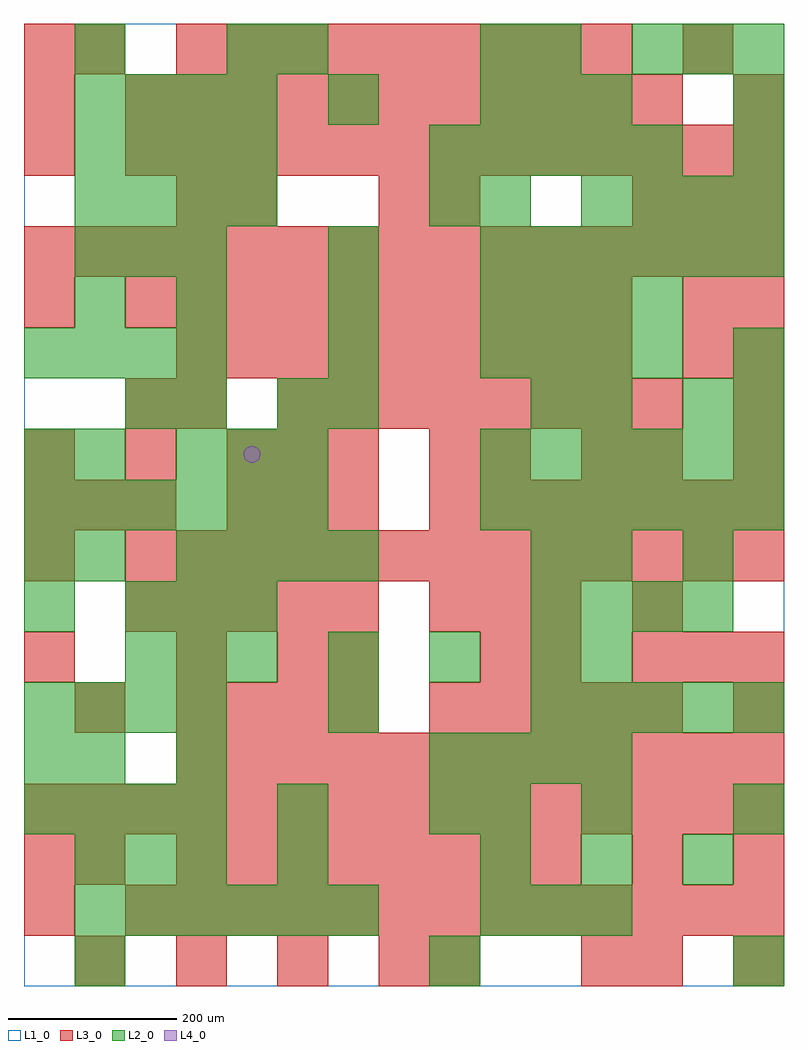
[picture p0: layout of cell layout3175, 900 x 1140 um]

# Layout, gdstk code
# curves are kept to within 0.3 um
import gdstk
lib = gdstk.Library(unit=1e-6, precision=1e-09)
def R(c, l, rs):  # rectangles x0, y0, x1, y1
    for r in rs: c.add(gdstk.rectangle(r[:2], r[2:], *l))
def A(c, l, x, y, w, h, nx, ny, dx, dy):  # array of equal rectangles
    R(c, l, [(x+i*dx, y+j*dy, x+i*dx+w, y+j*dy+h) for i in range(nx) for j in range(ny)])
def P(c, l, *ps):  # polygons
    for p in ps: c.add(gdstk.Polygon(p, *l))
L1_0 = (1, 0)
L2_0 = (2, 0)
L3_0 = (3, 0)
L4_0 = (4, 0)

layout3175 = lib.new_cell('layout3175')
R(layout3175, L1_0, [(0,0,900,1140)])
A(layout3175, L2_0, 60, 0, 60, 60, 1, 3, 0, 240)
A(layout3175, L2_0, 60, 60, 60, 60, 6, 1, 60, 0)
A(layout3175, L2_0, 540, 60, 60, 60, 3, 2, 60, 960)
A(layout3175, L2_0, 60, 120, 60, 60, 3, 2, 60, 720)
A(layout3175, L2_0, 540, 120, 60, 60, 3, 1, 120, 0)
A(layout3175, L2_0, 0, 180, 60, 60, 4, 2, 60, 120)
A(layout3175, L2_0, 480, 240, 60, 60, 4, 1, 60, 0)
A(layout3175, L2_0, 600, 300, 60, 60, 5, 1, 60, 0)
A(layout3175, L2_0, 120, 360, 60, 60, 3, 2, 60, 60)
A(layout3175, L2_0, 360, 360, 60, 60, 3, 1, 120, 0)
A(layout3175, L2_0, 600, 420, 60, 60, 4, 1, 60, 0)
A(layout3175, L2_0, 180, 480, 60, 60, 4, 1, 60, 0)
A(layout3175, L2_0, 0, 540, 60, 60, 6, 1, 60, 0)
A(layout3175, L2_0, 540, 540, 60, 60, 6, 2, 60, 60)
A(layout3175, L2_0, 180, 600, 60, 60, 3, 1, 60, 0)
A(layout3175, L2_0, 0, 720, 60, 60, 4, 1, 60, 0)
A(layout3175, L2_0, 540, 720, 60, 60, 4, 1, 60, 0)
A(layout3175, L2_0, 180, 780, 60, 60, 3, 1, 180, 0)
A(layout3175, L2_0, 600, 780, 60, 60, 3, 1, 60, 0)
A(layout3175, L2_0, 540, 840, 60, 60, 6, 1, 60, 0)
A(layout3175, L2_0, 60, 900, 60, 60, 4, 3, 60, 60)
A(layout3175, L2_0, 660, 900, 60, 60, 4, 1, 60, 0)
A(layout3175, L2_0, 480, 960, 60, 60, 5, 1, 60, 0)
A(layout3175, L2_0, 720, 1080, 60, 60, 3, 1, 60, 0)
R(layout3175, L2_0, [(480,0,540,60), (840,0,900,60), (300,120,360,180), (300,180,360,240), (480,180,540,240), (540,180,600,240), (660,180,720,240), (840,180,900,240), (0,240,60,300), (180,240,240,300), (360,300,420,360), (660,360,720,420), (0,420,60,480), (0,480,60,540), (600,480,660,540), (660,480,720,540), (780,480,840,540), (0,600,60,660), (60,600,120,660), (120,660,180,720), (180,660,240,720), (300,660,360,720), (360,660,420,720), (600,660,660,720), (660,660,720,720), (780,660,840,720), (840,660,900,720), (360,720,420,780), (840,720,900,780), (60,780,120,840), (360,840,420,900), (480,900,540,960), (540,900,600,960), (840,960,900,1020), (360,1020,420,1080), (840,1020,900,1080), (60,1080,120,1140), (240,1080,300,1140), (300,1080,360,1140), (540,1080,600,1140), (600,1080,660,1140)])
A(layout3175, L3_0, 60, 0, 60, 60, 4, 1, 120, 0)
A(layout3175, L3_0, 120, 60, 60, 60, 13, 2, 60, 420)
A(layout3175, L3_0, 180, 120, 60, 60, 8, 1, 60, 0)
A(layout3175, L3_0, 0, 180, 60, 60, 15, 2, 60, 660)
A(layout3175, L3_0, 180, 240, 60, 60, 12, 1, 60, 0)
A(layout3175, L3_0, 180, 300, 60, 60, 4, 1, 60, 0)
A(layout3175, L3_0, 480, 300, 60, 60, 5, 1, 60, 0)
A(layout3175, L3_0, 720, 360, 60, 60, 3, 2, 60, 540)
A(layout3175, L3_0, 120, 420, 60, 60, 5, 1, 60, 0)
A(layout3175, L3_0, 480, 420, 60, 60, 3, 1, 60, 0)
A(layout3175, L3_0, 0, 540, 60, 60, 3, 1, 60, 0)
A(layout3175, L3_0, 240, 540, 60, 60, 3, 1, 60, 0)
A(layout3175, L3_0, 480, 540, 60, 60, 7, 1, 60, 0)
A(layout3175, L3_0, 0, 600, 60, 60, 3, 1, 120, 0)
A(layout3175, L3_0, 840, 600, 60, 60, 1, 4, 0, 60)
A(layout3175, L3_0, 300, 660, 60, 60, 8, 1, 60, 0)
A(layout3175, L3_0, 180, 720, 60, 60, 9, 2, 60, 360)
A(layout3175, L3_0, 120, 780, 60, 60, 10, 1, 60, 0)
A(layout3175, L3_0, 0, 960, 60, 60, 1, 3, 0, 60)
A(layout3175, L3_0, 120, 960, 60, 60, 13, 1, 60, 0)
A(layout3175, L3_0, 120, 1020, 60, 60, 11, 1, 60, 0)
R(layout3175, L3_0, [(480,0,540,60), (660,0,720,60), (720,0,780,60), (840,0,900,60), (0,60,60,120), (0,120,60,180), (60,120,120,180), (720,120,780,180), (840,120,900,180), (60,300,120,360), (840,300,900,360), (0,360,60,420), (180,360,240,420), (300,360,360,420), (360,360,420,420), (540,360,600,420), (600,360,660,420), (720,420,780,480), (0,480,60,540), (300,600,360,660), (360,600,420,660), (480,600,540,660), (540,600,600,660), (660,600,720,660), (720,600,780,660), (120,660,180,720), (180,660,240,720), (780,720,840,780), (0,780,60,840), (780,780,840,840), (180,900,240,960), (240,900,300,960), (420,900,480,960), (480,900,540,960), (840,1020,900,1080), (60,1080,120,1140), (780,1080,840,1140)])
P(layout3175, L4_0, [(280,630),(279.239,633.827),(277.071,637.071),(273.827,639.239),(270,640),(266.173,639.239),(262.929,637.071),(260.761,633.827),(260,630),(260.761,626.173),(262.929,622.929),(266.173,620.761),(270,620),(273.827,620.761),(277.071,622.929),(279.239,626.173)])

lib.write_gds('layout3175.gds')
